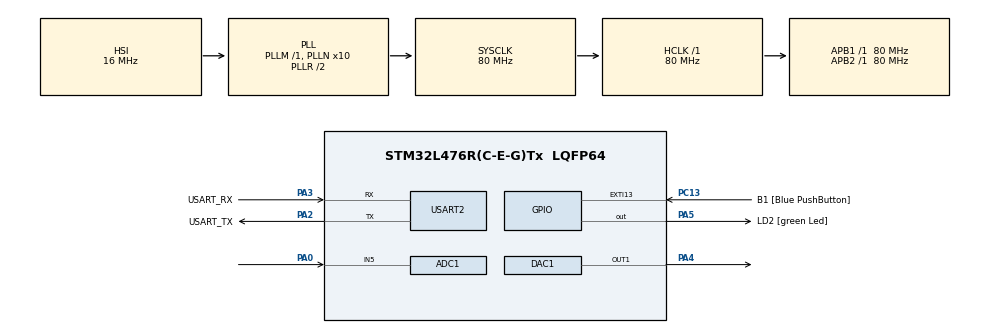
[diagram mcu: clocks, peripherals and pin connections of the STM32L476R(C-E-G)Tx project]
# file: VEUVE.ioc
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ADC1.Channel-1\#ChannelRegularConversion=ADC_CHANNEL_5
ADC1.ClockPrescaler=ADC_CLOCK_ASYNC_DIV4
ADC1.ContinuousConvMode=DISABLE
ADC1.DMAContinuousRequests=ENABLE
ADC1.ExternalTrigConv=ADC_EXTERNALTRIG_T6_TRGO
ADC1.NbrOfConversionFlag=1
ADC1.OffsetNumber-1\#ChannelRegularConversion=ADC_OFFSET_NONE
ADC1.Overrun=ADC_OVR_DATA_OVERWRITTEN
ADC1.Rank-1\#ChannelRegularConversion=1
ADC1.Resolution=ADC_RESOLUTION_12B
ADC1.SamplingTime-1\#ChannelRegularConversion=ADC_SAMPLETIME_24CYCLES_5
ADC1.master=1
DAC1.DAC_Trigger-DAC_OUT1=DAC_TRIGGER_T6_TRGO
Dma.ADC1.0.Direction=DMA_PERIPH_TO_MEMORY
Dma.ADC1.0.Instance=DMA1_Channel1
Dma.ADC1.0.MemDataAlignment=DMA_MDATAALIGN_HALFWORD
Dma.ADC1.0.MemInc=DMA_MINC_ENABLE
Dma.ADC1.0.Mode=DMA_CIRCULAR
Dma.ADC1.0.PeriphDataAlignment=DMA_PDATAALIGN_HALFWORD
Dma.ADC1.0.PeriphInc=DMA_PINC_DISABLE
Dma.ADC1.0.Priority=DMA_PRIORITY_HIGH
Dma.DAC_CH1.1.Direction=DMA_MEMORY_TO_PERIPH
Dma.DAC_CH1.1.Instance=DMA1_Channel3
Dma.DAC_CH1.1.MemDataAlignment=DMA_MDATAALIGN_HALFWORD
Dma.DAC_CH1.1.MemInc=DMA_MINC_ENABLE
Dma.DAC_CH1.1.Mode=DMA_CIRCULAR
Dma.DAC_CH1.1.PeriphDataAlignment=DMA_PDATAALIGN_HALFWORD
Dma.DAC_CH1.1.PeriphInc=DMA_PINC_DISABLE
Dma.DAC_CH1.1.Priority=DMA_PRIORITY_HIGH
Dma.Request0=ADC1
Dma.Request1=DAC_CH1
Mcu.Family=STM32L4
Mcu.Name=STM32L476R(C-E-G)Tx
Mcu.Package=LQFP64
NVIC.DMA1_Channel1_IRQn=true\:0\:0\:false\:false\:true\:false\:true\:true
NVIC.DMA1_Channel3_IRQn=true\:0\:0\:false\:false\:true\:false\:true\:true
NVIC.PriorityGroup=NVIC_PRIORITYGROUP_4
PA0.Signal=ADCx_IN5
PA13\ (JTMS-SWDIO).GPIO_Label=TMS
PA13\ (JTMS-SWDIO).Mode=Serial_Wire
PA13\ (JTMS-SWDIO).Signal=SYS_JTMS-SWDIO
PA14\ (JTCK-SWCLK).GPIO_Label=TCK
PA14\ (JTCK-SWCLK).Mode=Serial_Wire
PA14\ (JTCK-SWCLK).Signal=SYS_JTCK-SWCLK
PA2.GPIO_Label=USART_TX
PA2.GPIO_Mode=GPIO_MODE_AF_PP
PA2.GPIO_PuPd=GPIO_NOPULL
PA2.GPIO_Speed=GPIO_SPEED_FREQ_VERY_HIGH
PA2.Mode=Asynchronous
PA2.Signal=USART2_TX
PA3.GPIO_Label=USART_RX
PA3.GPIO_Mode=GPIO_MODE_AF_PP
PA3.GPIO_PuPd=GPIO_NOPULL
PA3.GPIO_Speed=GPIO_SPEED_FREQ_VERY_HIGH
PA3.Mode=Asynchronous
PA3.Signal=USART2_RX
PA4.Signal=COMP_DAC11_group
PA5.GPIO_Label=LD2 [green Led]
PA5.GPIO_ModeDefaultOutputPP=GPIO_MODE_OUTPUT_PP
PA5.GPIO_PuPd=GPIO_NOPULL
PA5.GPIO_Speed=GPIO_SPEED_FREQ_LOW
PA5.Signal=GPIO_Output
PB3\ (JTDO-TRACESWO).GPIO_Label=SWO
PB3\ (JTDO-TRACESWO).Signal=SYS_JTDO-SWO
PC13.GPIO_Label=B1 [Blue PushButton]
PC13.GPIO_ModeDefaultEXTI=GPIO_MODE_IT_FALLING
PC13.GPIO_PuPd=GPIO_NOPULL
PC13.Signal=GPXTI13
PC14-OSC32_IN\ (PC14).Mode=LSE-External-Oscillator
PC14-OSC32_IN\ (PC14).Signal=RCC_OSC32_IN
PC15-OSC32_OUT\ (PC15).Mode=LSE-External-Oscillator
PC15-OSC32_OUT\ (PC15).Signal=RCC_OSC32_OUT
PH0-OSC_IN\ (PH0).Signal=RCC_OSC_IN
PH1-OSC_OUT\ (PH1).Signal=RCC_OSC_OUT
ProjectManager.HeapSize=0x200
ProjectManager.StackSize=0x400
ProjectManager.TargetToolchain=CMake
RCC.ADCFreq_Value=64000000
RCC.AHBFreq_Value=80000000
RCC.APB1Freq_Value=80000000
RCC.APB1TimFreq_Value=80000000
RCC.APB2Freq_Value=80000000
RCC.APB2TimFreq_Value=80000000
RCC.CortexFreq_Value=80000000
RCC.HCLKFreq_Value=80000000
RCC.HSE_VALUE=8000000
RCC.HSI_VALUE=16000000
RCC.MSI_VALUE=4000000
RCC.PLLN=10
RCC.PLLSourceVirtual=RCC_PLLSOURCE_HSI
RCC.PREFETCH_ENABLE=1
RCC.SYSCLKFreq_VALUE=80000000
RCC.SYSCLKSource=RCC_SYSCLKSOURCE_PLLCLK
RCC.USBFreq_Value=64000000
RCC.VCOOutputFreq_Value=160000000
SH.ADCx_IN5.0=ADC1_IN5,IN5-Single-Ended
SH.COMP_DAC11_group.0=DAC1_OUT1,DAC_OUT1
TIM6.AutoReloadPreload=TIM_AUTORELOAD_PRELOAD_ENABLE
TIM6.Period=1813
TIM6.TIM_MasterOutputTrigger=TIM_TRGO_UPDATE
USART2.VirtualMode-Asynchronous=VM_ASYNC
VP_TIM6_VS_ClockSourceINT.Mode=Enable_Timer
board=NUCLEO-L476RG

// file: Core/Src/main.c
/* USER CODE BEGIN Header */
/**
  ******************************************************************************
  * @file           : main.c
  * @brief          : Main program body
  ******************************************************************************
  * @attention
  *
  * Copyright (c) 2026 STMicroelectronics.
  * All rights reserved.
  *
  * This software is licensed under terms that can be found in the LICENSE file
  * in the root directory of this software component.
  * If no LICENSE file comes with this software, it is provided AS-IS.
  *
  ******************************************************************************
  */
/* USER CODE END Header */
#include "main.h"
#include "adc.h"
#include "dac.h"
#include "dma.h"
#include "stm32l4xx_hal_adc.h"
#include "stm32l4xx_hal_dac.h"
#include "tim.h"
#include "usart.h"
#include "gpio.h"
#include <stdint.h>

/* USER CODE BEGIN PV */
#define ADC_RESOLUTION 4096 // 12-bit ADC, values range from 0 to 4095
#define ADC_BUFFER_LENGTH 64 // number of samples to process at a time
uint16_t adc_buffer[ADC_BUFFER_LENGTH]; // Buffer to hold ADC values (output from guitar will be stored here)

// --------------------------------------------------------------------------------------
//
//                                  EFFECT SETTINGS
//
// --------------------------------------------------------------------------------------

/**
  * @attention: Effect parameters, can be adjusted to create different sounds

  * EFFECTS: 0 for passthrough, 1 for distortion, 2 for octave fuzz

  * PASSTHROUGH: no settings
  * DISTORTION:
  *   EFFECT_THRESHOLD: is the minimum value for the clipping to take place
  *   GAIN: amplifes the signal before clipping, can be adjusted to create different sounds from mild distortion to full on fuzz
*/

// general effect settings
#define EFFECT 1 // select effect to apply, via comment above
#define MIX 0.5f // mix between dry and wet signal, 0.5 for equal mix

// distortion settings
#define EFFECT_THRESHOLD 500.0f // threshold for effect to be applied, can be adjusted based on testing
#define GAIN 2.0f // gain for distortion effect, adjust based on preference

/* USER CODE END PV */

void SystemClock_Config(void);

int main(void)
{

  /* MCU Configuration--------------------------------------------------------*/

  /* Reset of all peripherals, Initializes the Flash interface and the Systick. */
  HAL_Init();

  /* Configure the system clock */
  SystemClock_Config();

  /* Initialize all configured peripherals */
  MX_GPIO_Init();
  MX_DMA_Init();
  MX_ADC1_Init();
  MX_USART2_UART_Init();
  MX_DAC1_Init();
  MX_TIM6_Init();

  /* USER CODE BEGIN 2 */
  HAL_ADC_Start_DMA(&hadc1, (uint32_t*)adc_buffer, ADC_BUFFER_LENGTH); // start ADC in DMA mode, load values into adc_buffer
  HAL_DAC_Start_DMA(&hdac1, DAC_CHANNEL_1, (uint32_t*)adc_buffer, ADC_BUFFER_LENGTH, DAC_ALIGN_12B_R); // start DAC in DMA mode, output values from adc_buffer to DAC channel, DAC_ALIGN_12B_R allows for easy data storage withotu bit shifting
  HAL_TIM_Base_Start(&htim6); // start timer 6, which will trigger DAC conversions at regular intervals

  /* USER CODE END 2 */

  /* Infinite loop */
  while (1)
  {

  }
}

void SystemClock_Config(void)
{
  RCC_OscInitTypeDef RCC_OscInitStruct = {0};
  RCC_ClkInitTypeDef RCC_ClkInitStruct = {0};

  /** Configure the main internal regulator output voltage
  */
  if (HAL_PWREx_ControlVoltageScaling(PWR_REGULATOR_VOLTAGE_SCALE1) != HAL_OK)
  {
    Error_Handler();
  }

  /** Initializes the RCC Oscillators according to the specified parameters
  * in the RCC_OscInitTypeDef structure.
  */
  RCC_OscInitStruct.OscillatorType = RCC_OSCILLATORTYPE_HSI;
  RCC_OscInitStruct.HSIState = RCC_HSI_ON;
  RCC_OscInitStruct.HSICalibrationValue = RCC_HSICALIBRATION_DEFAULT;
  RCC_OscInitStruct.PLL.PLLState = RCC_PLL_ON;
  RCC_OscInitStruct.PLL.PLLSource = RCC_PLLSOURCE_HSI;
  RCC_OscInitStruct.PLL.PLLM = 1;
  RCC_OscInitStruct.PLL.PLLN = 10;
  RCC_OscInitStruct.PLL.PLLP = RCC_PLLP_DIV7;
  RCC_OscInitStruct.PLL.PLLQ = RCC_PLLQ_DIV2;
  RCC_OscInitStruct.PLL.PLLR = RCC_PLLR_DIV2;
  if (HAL_RCC_OscConfig(&RCC_OscInitStruct) != HAL_OK)
  {
    Error_Handler();
  }

  /** Initializes the CPU, AHB and APB buses clocks
  */
  RCC_ClkInitStruct.ClockType = RCC_CLOCKTYPE_HCLK|RCC_CLOCKTYPE_SYSCLK
                              |RCC_CLOCKTYPE_PCLK1|RCC_CLOCKTYPE_PCLK2;
  RCC_ClkInitStruct.SYSCLKSource = RCC_SYSCLKSOURCE_PLLCLK;
  RCC_ClkInitStruct.AHBCLKDivider = RCC_SYSCLK_DIV1;
  RCC_ClkInitStruct.APB1CLKDivider = RCC_HCLK_DIV1;
  RCC_ClkInitStruct.APB2CLKDivider = RCC_HCLK_DIV1;

  if (HAL_RCC_ClockConfig(&RCC_ClkInitStruct, FLASH_LATENCY_4) != HAL_OK)
  {
    Error_Handler();
  }
}

/* USER CODE BEGIN 4 */

// -----------------------------------------------------------------------------------------------------
//
//                                   EFFECT IMPLEMENTATION
//
// -----------------------------------------------------------------------------------------------------

void ProcessAudio(uint16_t* buffer, uint32_t length) {
    for (uint32_t i = 0; i < length; i++) {
        float dry = (float)buffer[i]; // cast to a float for processing, accounts for negative values and floating points, also prevents overflows
        float wet = dry;

        #if EFFECT == 0
        // ----------------------------------
        // PASSTHROUGH
        // ----------------------------------
        #endif

        #if EFFECT == 1
        // ----------------------------------
        // DISTORTION
        // ----------------------------------

        wet = wet - 2048.0f; // DC offset removal
        wet = wet * GAIN; // apply gain for more pronounced clipping

        // clipping
        if (wet > EFFECT_THRESHOLD) {
            wet = EFFECT_THRESHOLD;
        } else if (wet < -EFFECT_THRESHOLD) {
            wet = -EFFECT_THRESHOLD;
        }

        // DC offset restoration
        wet = wet + 2048.0f;

        // ensure sample is within 12-bit range after processing
        if (wet > 4095.0f) wet = 4095.0f;
        if (wet < 0.0f)    wet = 0.0f;

        float blend = (dry * (1.0f - MIX)) + (wet * MIX); // interpolate between dry and wet based on MIX ratio

        // save result back to buffer, cast back to uint16_t
        buffer[i] = (uint16_t)blend;
        #endif

        #if EFFECT == 2
        // ----------------------------------
        // OCTAVE FUZZ
        // ----------------------------------

        wet = wet - 2048.0f; // DC offset removal
        if (wet < 0) wet = wet * -1.0f; // make signal positive for octave effect
        wet = wet + 2048.0f; // DC offset restoration
        blend = (dry * (1.0f - MIX)) + (wet * MIX); // interpolate between dry and wet based on MIX ratio
        buffer[i] = (uint16_t)blend;
        #endif
    }

}

void HAL_ADC_ConvHalfCpltCallback(ADC_HandleTypeDef* hadc) {

  ProcessAudio(adc_buffer, ADC_BUFFER_LENGTH/2);

}

void HAL_ADC_ConvCpltCallback(ADC_HandleTypeDef* hadc) {

  ProcessAudio(adc_buffer + ADC_BUFFER_LENGTH/2, ADC_BUFFER_LENGTH/2);

}

/* USER CODE END 4 */

void Error_Handler(void)
{
  __disable_irq();
  while (1)
  {
  }
}
